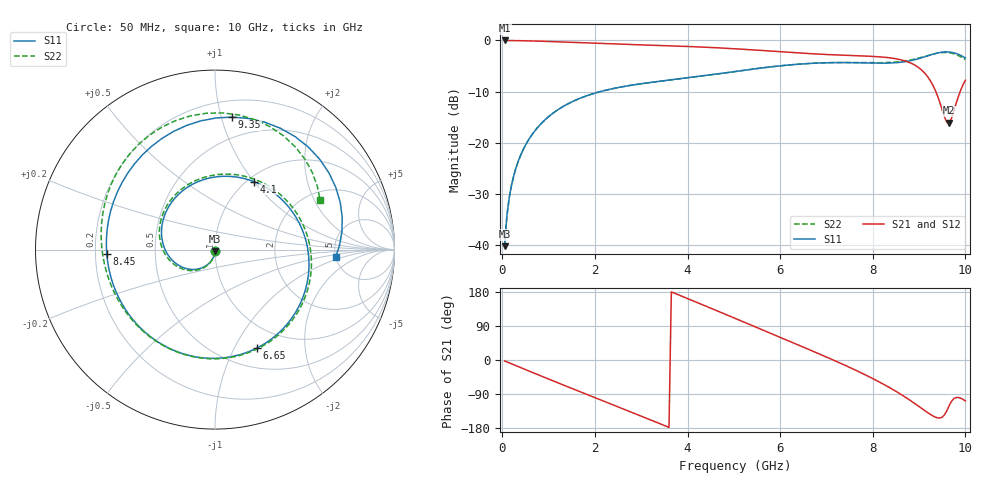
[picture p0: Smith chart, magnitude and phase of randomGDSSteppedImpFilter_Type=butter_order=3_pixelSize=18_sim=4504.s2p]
! freq	dB(S11)	phase(S11)	dB(S12)	phase(S12)
!  dB(S21)	phase(S21)	dB(S22)	phase(S22)
!S-par simulation data
#  GHz  S  DB  R 50
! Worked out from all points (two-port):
!   200 points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, 50 MHz to 10 GHz, reference 50 ohm
!   highest |S21| = -0.01 dB at 50 MHz (marker M1); lowest = -16.1 dB at 9.65 GHz (marker M2)
!   |S21| within 3 dB of the highest: start of sweep to 7.703 GHz
!   lowest |S11| = -40.2 dB at 50 MHz (marker M3), VSWR 1.02, Z = 50 - j0.972 ohm
!   |S11| at or under -10 dB: start of sweep to 2.12 GHz
!   |S22| runs from -40.2 to -2.4 dB; largest |S21 - S12| = 0
!   S11 on the Smith chart (normalised r, x): 50 MHz: 1.00, -0.02; 4.1 GHz: 1.07, +1.00; 6.65 GHz: 0.73, -1.24; 8.45 GHz: 0.25, -0.02; 9.35 GHz: 0.33, +1.08; 10 GHz: 4.99, -0.79
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0.05  -40.23 -92.3  -0.01 -2.6  -0.01 -2.6  -40.22 -92.1
0.1  -34.23 -95.1  -0.01 -5.1  -0.01 -5.1  -34.23 -94.7
0.2  -28.27 -100.5  -0.02 -10.2  -0.02 -10.2  -28.27 -99.9
0.5  -20.49 -116.6  -0.07 -25.3  -0.07 -25.3  -20.49 -115.0
1.15  -13.86 -150.3  -0.25 -57.7  -0.25 -57.7  -13.86 -146.6
1.75  -11.06 179.1  -0.46 -87.2  -0.46 -87.2  -11.06 -175.1
2.5  -9.22 141.2  -0.71 -123.7  -0.71 -123.7  -9.22 149.7
3.4  -7.99 95.7  -0.98 -167.9  -0.98 -167.9  -8.00 106.9
4.1  -7.21 60.3  -1.22 157.1  -1.22 157.1  -7.22 72.5
5.05  -6.04 12.7  -1.65 108.7  -1.65 108.7  -6.06 24.2
5.8  -5.16 -24.4  -2.08 70.1  -2.08 70.1  -5.17 -14.7
6.65  -4.50 -66.8  -2.58 26.2  -2.58 26.2  -4.49 -58.8
6.7  -4.47 -69.3  -2.61 23.6  -2.61 23.6  -4.47 -61.4
7.55  -4.35 -115.2  -2.95 -22.3  -2.95 -22.3  -4.31 -106.7
8.35  -4.42 -169.3  -3.39 -72.0  -3.39 -72.0  -4.31 -154.9
8.45  -4.39 -177.6  -3.51 -79.0  -3.51 -79.0  -4.26 -161.8
8.95  -3.67 133.2  -5.06 -118.6  -5.06 -118.6  -3.55 157.8
9.15  -3.12 109.2  -6.69 -136.0  -6.69 -136.0  -3.05 137.2
9.35  -2.57 82.7  -9.76 -150.7  -9.76 -150.7  -2.57 113.5
9.65  -2.27 40.8  -16.11 -120.4  -16.11 -120.4  -2.41 72.9
9.8  -2.55 20.6  -12.31 -99.0  -12.31 -99.0  -2.77 51.9
10  -3.44 -3.7  -7.78 -108.0  -7.78 -108.0  -3.78 25.3
